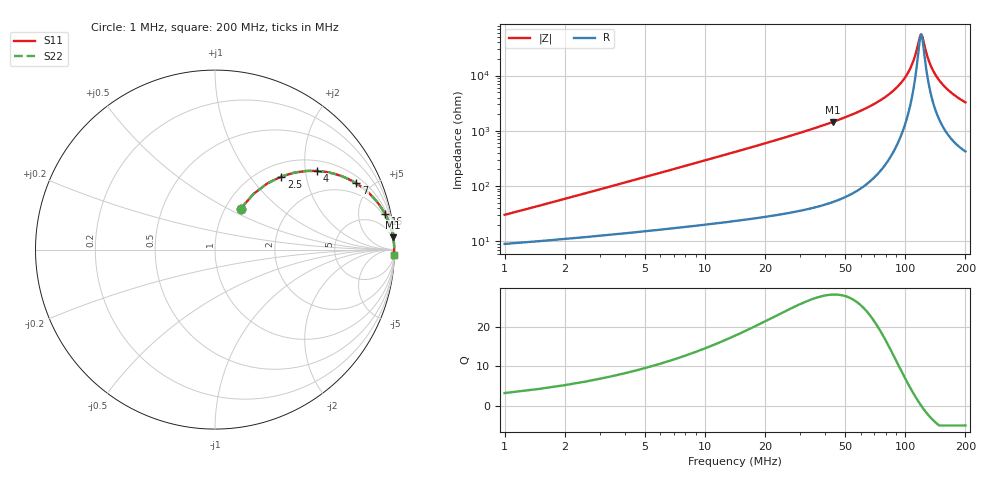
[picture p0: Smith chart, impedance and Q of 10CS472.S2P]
! Coilcraft 1008CS-472 Chip Inductor
! 02 July 2002
# MHZ S MA R 50
!Freq  MagS11  AngS11  MagS21  AngS21  MagS12  AngS12  MagS22  AngS22
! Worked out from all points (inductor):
!   399 points, 1 MHz to 200 MHz, reference 50 ohm
!   read as one part in series: L = 4.6 uH near 1.5 MHz
!   highest Q = 28.2 at 43.5 MHz (marker M1), where L = 5.29 uH
!   self-resonance near 120 MHz
!   S11 on the Smith chart (normalised r, x): 1 MHz: 1.18, +0.58; 2.5 MHz: 1.24, +1.45; 4 MHz: 1.28, +2.31; 7 MHz: 1.35, +4.06; 16 MHz: 1.50, +9.42; 200 MHz: 9, -65
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1  0.2685 57.9  0.8868 -14.9  0.8868 -14.9  0.2685 57.9
1.5  0.3762 55.4  0.8449 -21.5  0.8449 -21.5  0.3762 55.4
2.5  0.5499 47.8  0.7506 -32.9  0.7506 -32.9  0.5499 47.8
4  0.7176 37.7  0.6155 -45.4  0.6155 -45.4  0.7176 37.7
7  0.869 25.1  0.4265 -60.0  0.4265 -60.0  0.869 25.1
10.5  0.9325 17.7  0.3043 -68.5  0.3043 -68.5  0.9325 17.7
16  0.968 11.8  0.2053 -75.2  0.2053 -75.2  0.968 11.8
24  0.9849 7.8  0.1362 -79.7  0.1362 -79.7  0.9849 7.8
34.5  0.9925 5.2  0.09129 -82.6  0.09129 -82.6  0.9925 5.2
43.5  0.9952 3.9  0.06877 -84.0  0.06877 -84.0  0.9952 3.9
67.5  0.9978 2.0  0.03504 -85.5  0.03504 -85.5  0.9978 2.0
87  0.9984 1.1  0.01898 -84.5  0.01898 -84.5  0.9984 1.1
100.5  0.9984 0.6  0.01049 -81.0  0.01049 -81.0  0.9984 0.6
110  0.9983 0.3  0.005408 -72.0  0.005408 -72.0  0.9983 0.3
118.5  0.9982 0.1  0.001977 -26.4  0.001977 -26.4  0.9982 0.1
120  0.9982 0.0  0.001801 -5.1  0.001801 -5.1  0.9982 0.0
122  0.9982 -0.0  0.001989 23.2  0.001989 23.2  0.9982 -0.0
128  0.9981 -0.2  0.00403 61.1  0.00403 61.1  0.9981 -0.2
134  0.9979 -0.4  0.006496 71.2  0.006496 71.2  0.9979 -0.4
147.5  0.9976 -0.7  0.01195 77.9  0.01195 77.9  0.9976 -0.7
167  0.9969 -1.1  0.01925 80.3  0.01925 80.3  0.9969 -1.1
200  0.9956 -1.7  0.03041 80.8  0.03041 80.8  0.9956 -1.7
